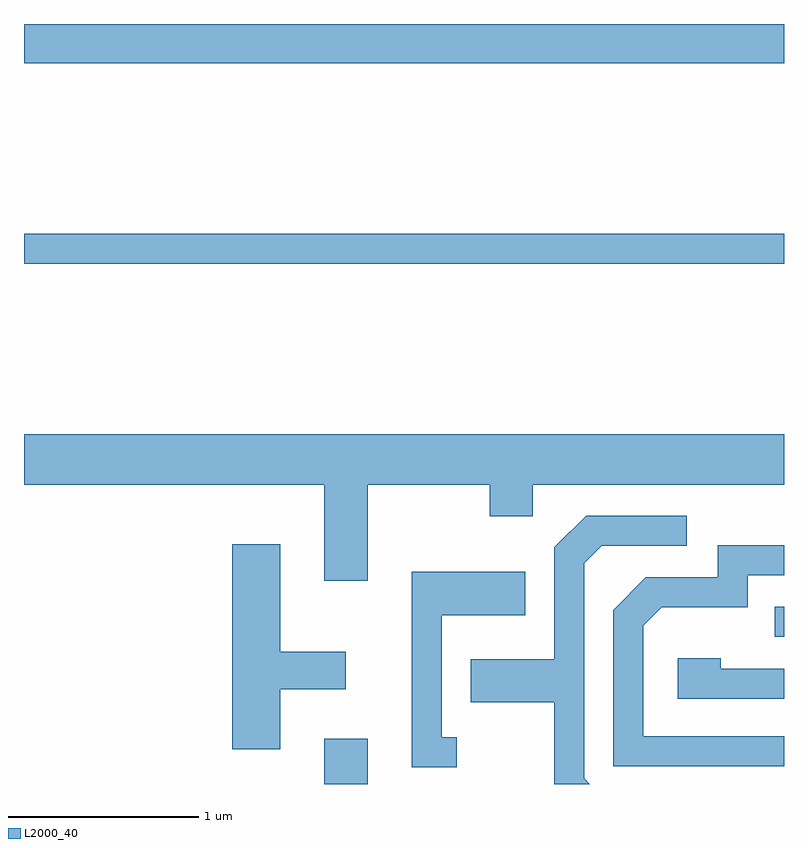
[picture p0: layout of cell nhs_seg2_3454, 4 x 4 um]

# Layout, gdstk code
import gdstk
lib = gdstk.Library(unit=1e-6, precision=1e-09)
def R(c, l, rs):  # rectangles x0, y0, x1, y1
    for r in rs: c.add(gdstk.rectangle(r[:2], r[2:], *l))
def P(c, l, *ps):  # polygons
    for p in ps: c.add(gdstk.Polygon(p, *l))
L2000_40 = (2000, 40)

nhs_seg2_3454 = lib.new_cell('nhs_seg2_3454')
R(nhs_seg2_3454, L2000_40, [(287.191,1097.802,287.419,1098.039), (289.563,1098.576,289.611,1098.734), (285.611,1100.541,289.611,1100.699), (285.611,1101.596,289.611,1101.802)])
P(nhs_seg2_3454, L2000_40, [(287.419,1099.376),(288.061,1099.376),(288.061,1099.211),(288.289,1099.211),(288.289,1099.376),(289.611,1099.376),(289.611,1099.644),(285.611,1099.644),(285.611,1099.376),(287.191,1099.376),(287.191,1098.871),(287.419,1098.871)],
  [(288.559,1097.832),(288.559,1098.964),(288.652,1099.056),(289.098,1099.056),(289.098,1099.214),(288.569,1099.214),(288.401,1099.047),(288.401,1098.459),(287.961,1098.459),(287.961,1098.231),(288.401,1098.231),(288.401,1097.802),(288.589,1097.802)],
  [(286.959,1098.301),(287.304,1098.301),(287.304,1098.499),(286.959,1098.499),(286.959,1099.064),(286.706,1099.064),(286.706,1097.986),(286.959,1097.986)],
  [(289.611,1098.054),(288.869,1098.054),(288.869,1098.634),(288.967,1098.731),(289.419,1098.731),(289.419,1098.901),(289.611,1098.901),(289.611,1099.059),(289.261,1099.059),(289.261,1098.889),(288.884,1098.889),(288.711,1098.717),(288.711,1097.896),(289.611,1097.896)],
  [(287.888,1098.049),(287.809,1098.049),(287.809,1098.691),(288.249,1098.691),(288.249,1098.919),(287.651,1098.919),(287.651,1097.891),(287.888,1097.891)],
  [(289.611,1098.409),(289.279,1098.409),(289.279,1098.464),(289.051,1098.464),(289.051,1098.251),(289.611,1098.251)])

lib.write_gds('nhs_seg2_3454.gds')
